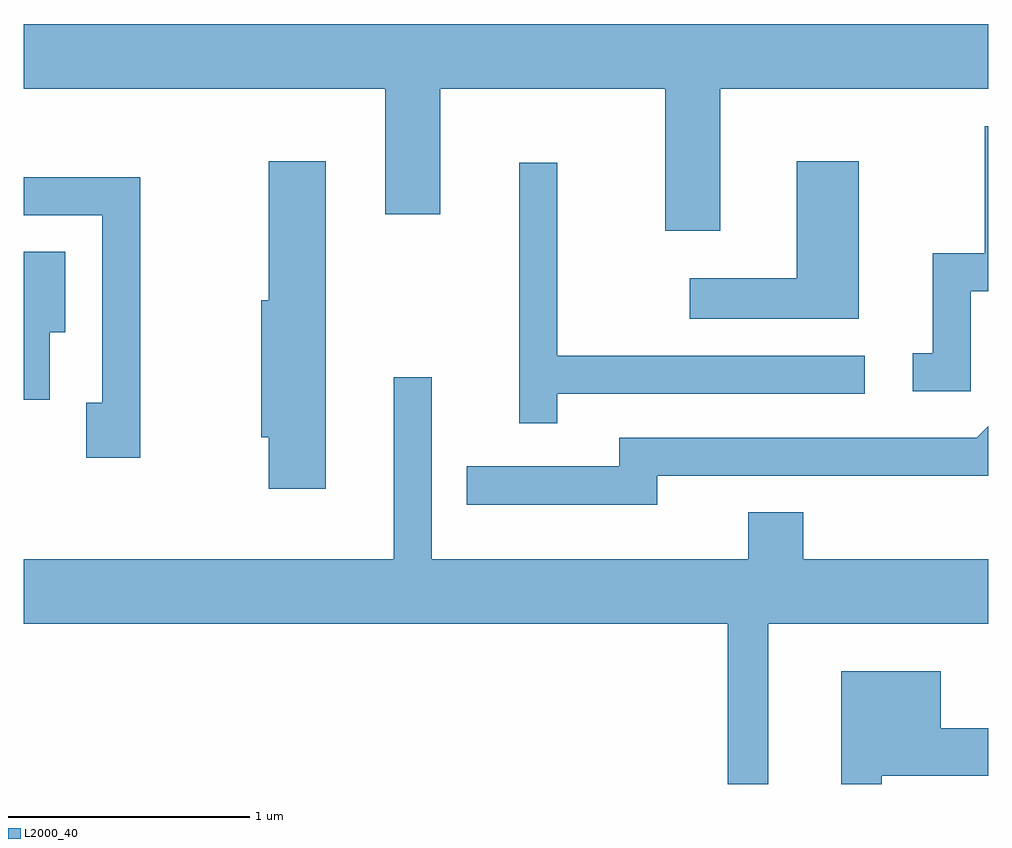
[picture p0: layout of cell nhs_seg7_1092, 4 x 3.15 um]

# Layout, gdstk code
import gdstk
lib = gdstk.Library(unit=1e-6, precision=1e-09)
def P(c, l, *ps):  # polygons
    for p in ps: c.add(gdstk.Polygon(p, *l))
L2000_40 = (2000, 40)

nhs_seg7_1092 = lib.new_cell('nhs_seg7_1092')
P(nhs_seg7_1092, L2000_40, [(220.499,1783.136),(221.611,1783.136),(221.611,1783.404),(217.611,1783.404),(217.611,1783.136),(219.111,1783.136),(219.111,1782.616),(219.339,1782.616),(219.339,1783.136),(220.271,1783.136),(220.271,1782.546),(220.499,1782.546)],
  [(221.539,1782.296),(221.611,1782.296),(221.611,1782.979),(221.596,1782.979),(221.596,1782.454),(221.381,1782.454),(221.381,1782.039),(221.298,1782.039),(221.298,1781.881),(221.539,1781.881)],
  [(218.864,1782.834),(218.626,1782.834),(218.626,1782.259),(218.596,1782.259),(218.596,1781.691),(218.626,1781.691),(218.626,1781.476),(218.864,1781.476)],
  [(221.074,1782.834),(220.816,1782.834),(220.816,1782.349),(220.373,1782.349),(220.373,1782.181),(221.074,1782.181)],
  [(219.824,1781.871),(221.098,1781.871),(221.098,1782.029),(219.824,1782.029),(219.824,1782.828),(219.666,1782.828),(219.666,1781.748),(219.824,1781.748)],
  [(218.094,1782.769),(217.611,1782.769),(217.611,1782.611),(217.936,1782.611),(217.936,1781.834),(217.871,1781.834),(217.871,1781.606),(218.094,1781.606)],
  [(217.719,1782.126),(217.784,1782.126),(217.784,1782.459),(217.611,1782.459),(217.611,1781.846),(217.719,1781.846)],
  [(220.699,1780.916),(221.611,1780.916),(221.611,1781.184),(220.844,1781.184),(220.844,1781.379),(220.616,1781.379),(220.616,1781.184),(219.304,1781.184),(219.304,1781.938),(219.146,1781.938),(219.146,1781.184),(217.611,1781.184),(217.611,1780.916),(220.531,1780.916),(220.531,1780.252),(220.699,1780.252)],
  [(220.239,1781.531),(221.611,1781.531),(221.611,1781.736),(221.564,1781.689),(220.081,1781.689),(220.081,1781.569),(219.448,1781.569),(219.448,1781.411),(220.239,1781.411)],
  [(221.169,1780.286),(221.611,1780.286),(221.611,1780.484),(221.414,1780.484),(221.414,1780.719),(221.001,1780.719),(221.001,1780.252),(221.169,1780.252)])

lib.write_gds('nhs_seg7_1092.gds')
